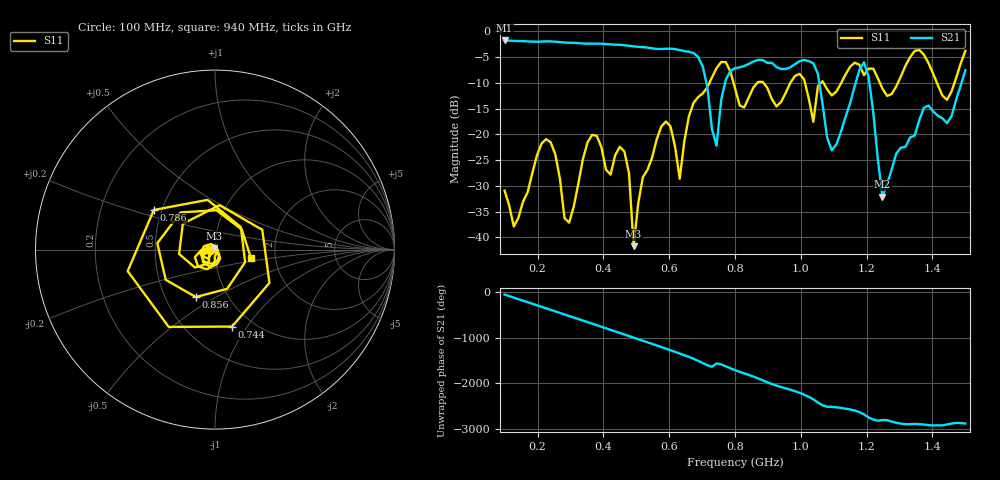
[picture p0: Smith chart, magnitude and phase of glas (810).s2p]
! NanoVNA-App
! Date: 2025-09-25 16:01:47
! Start: 100MHz Stop: 1,5GHz Points: 101
! S-Parameter data: F S11 S21 S12 S22
# Hz S RI R 50
!  Frequency  S11_Real  S11_Imag  S21_Real  S21_Imag  S12_Real  S12_Imag  S22_Real  S22_Imag
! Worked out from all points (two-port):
!   101 points, 100 MHz to 1.5 GHz, reference 50 ohm
!   highest |S21| = -1.80 dB at 100 MHz (marker M1); lowest = -32.1 dB at 1.248 GHz (marker M2)
!   |S21| within 3 dB of the highest: start of sweep to 684.5 MHz
!   lowest |S11| = -41.7 dB at 492 MHz (marker M3), VSWR 1.02, Z = 49.5 + j0.649 ohm
!   |S11| at or under -10 dB: start of sweep to 722.5 MHz; 795.4 MHz to 867.9 MHz (72.46 MHz wide, 8.71 % of centre); 886.3 MHz to 968.2 MHz (81.87 MHz wide, 8.83 % of centre) (the widest 3 of 7)
!   S12 and S22 are empty: the file has one direction only
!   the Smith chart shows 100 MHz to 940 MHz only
!   S11 on the Smith chart (normalised r, x): 100 MHz: 0.94, -0.01; 744 MHz: 0.80, -0.85; 786 MHz: 0.45, +0.24; 856 MHz: 0.71, -0.41; 940 MHz: 1.49, -0.15
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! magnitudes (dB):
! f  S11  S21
! 100 MHz  -30.9  -1.8
! 128 MHz  -37.9  -1.9
! 226 MHz  -20.9  -2.0
! 296 MHz  -37.1  -2.2
! 338 MHz  -24.8  -2.4
! 464 MHz  -23.3  -2.7
! 492 MHz  -41.7  -2.9
! 576 MHz  -18.5  -3.5
! 632 MHz  -28.6  -3.7
! 702 MHz  -12.1  -6.8
! 744 MHz  -7.1  -22.2
! 786 MHz  -7.8  -7.7
! 800 MHz  -11.1  -7.2
! 856 MHz  -10.9  -5.9
! 940 MHz  -13.7  -7.3
! 996 MHz  -8.3  -5.8
! 1.038 GHz  -17.6  -6.2
! 1.094 GHz  -12.5  -23.1
! 1.192 GHz  -8.5  -6.0
! 1.248 GHz  -11.1  -32.1
! 1.276 GHz  -12.2  -26.8
! 1.5 GHz  -3.8  -7.6
